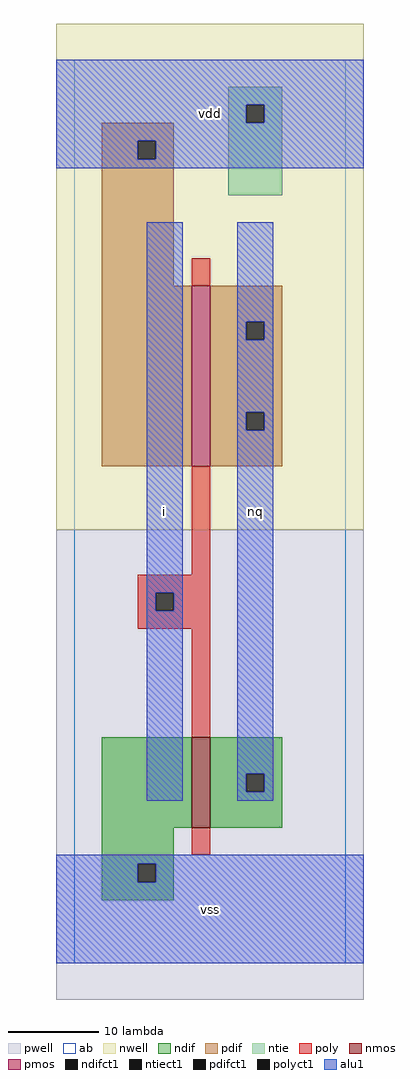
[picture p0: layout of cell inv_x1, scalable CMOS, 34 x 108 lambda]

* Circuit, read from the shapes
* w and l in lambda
.subckt inv_x1 i nq vdd vss
M1 nq i vss VSUBS nfet w=10 l=2
M2 nq i vdd vdd pfet w=20 l=2
.ends

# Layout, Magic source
magic
tech scmos
<< ab >>
rect 0 0 30 100
<< nwell >>
rect -2 48 32 104
<< pwell >>
rect -2 -4 32 48
<< poly >>
rect 13 75 15 78
rect 13 43 15 55
rect 7 41 15 43
rect 7 39 9 41
rect 11 39 15 41
rect 7 37 15 39
rect 13 25 15 37
rect 13 12 15 15
<< ndif >>
rect 3 15 13 25
rect 15 21 23 25
rect 15 19 19 21
rect 21 19 23 21
rect 15 15 23 19
rect 3 11 11 15
rect 3 9 7 11
rect 9 9 11 11
rect 3 7 11 9
<< pdif >>
rect 3 91 11 93
rect 3 89 7 91
rect 9 89 11 91
rect 3 75 11 89
rect 3 55 13 75
rect 15 71 23 75
rect 15 69 19 71
rect 21 69 23 71
rect 15 61 23 69
rect 15 59 19 61
rect 21 59 23 61
rect 15 55 23 59
<< alu1 >>
rect -2 95 32 100
rect -2 93 19 95
rect 21 93 32 95
rect -2 91 32 93
rect -2 89 7 91
rect 9 89 32 91
rect -2 88 32 89
rect 8 41 12 82
rect 8 39 9 41
rect 11 39 12 41
rect 8 18 12 39
rect 18 71 22 82
rect 18 69 19 71
rect 21 69 22 71
rect 18 61 22 69
rect 18 59 19 61
rect 21 59 22 61
rect 18 21 22 59
rect 18 19 19 21
rect 21 19 22 21
rect 18 18 22 19
rect -2 11 32 12
rect -2 9 7 11
rect 9 9 32 11
rect -2 0 32 9
<< ntie >>
rect 17 95 23 97
rect 17 93 19 95
rect 21 93 23 95
rect 17 85 23 93
<< nmos >>
rect 13 15 15 25
<< pmos >>
rect 13 55 15 75
<< polyct1 >>
rect 9 39 11 41
<< ndifct1 >>
rect 19 19 21 21
rect 7 9 9 11
<< ntiect1 >>
rect 19 93 21 95
<< pdifct1 >>
rect 7 89 9 91
rect 19 69 21 71
rect 19 59 21 61
<< labels >>
rlabel alu1 15 6 15 6 6 vss
rlabel alu1 10 50 10 50 6 i
rlabel alu1 15 94 15 94 6 vdd
rlabel alu1 20 50 20 50 6 nq
<< end >>
